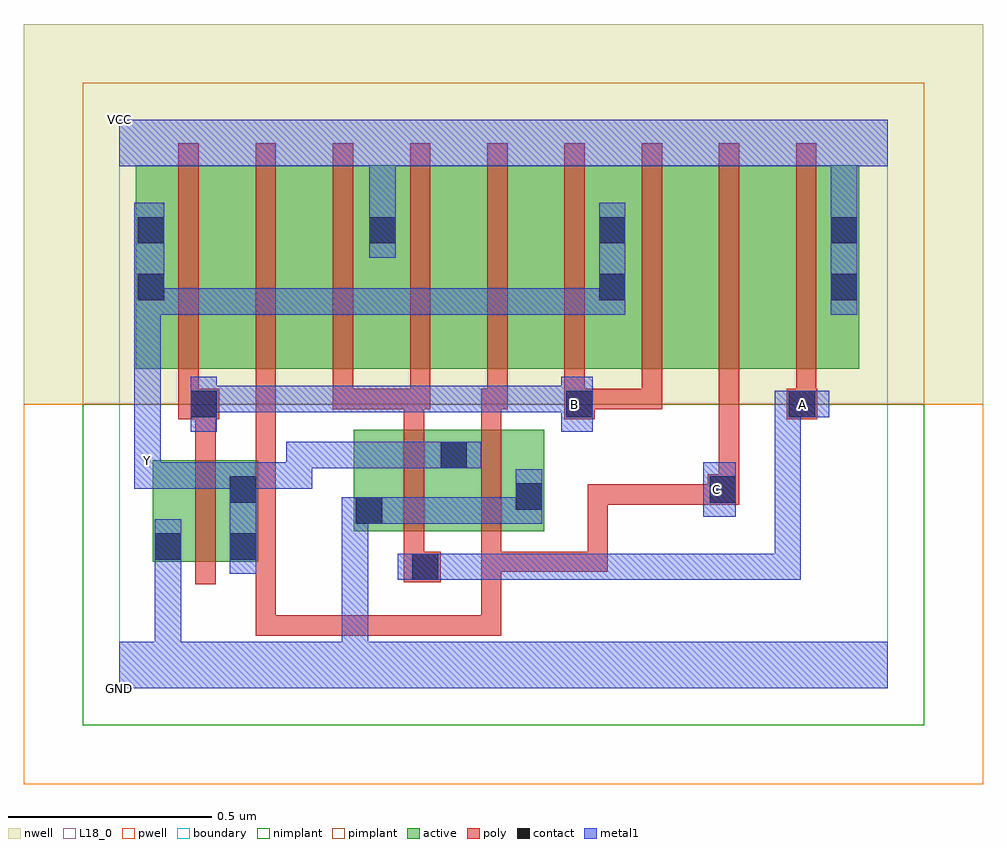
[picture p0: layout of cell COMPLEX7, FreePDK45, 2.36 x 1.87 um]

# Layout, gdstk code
import gdstk
lib = gdstk.Library(unit=1e-6, precision=1e-09)
def R(c, l, rs):  # rectangles x0, y0, x1, y1
    for r in rs: c.add(gdstk.rectangle(r[:2], r[2:], *l))
def A(c, l, x, y, w, h, nx, ny, dx, dy):  # array of equal rectangles
    R(c, l, [(x+i*dx, y+j*dy, x+i*dx+w, y+j*dy+h) for i in range(nx) for j in range(ny)])
active = (1, 0)
pwell = (2, 0)
nwell = (3, 0)
nimplant = (4, 0)
pimplant = (5, 0)
poly = (9, 0)
contact = (10, 0)
metal1 = (11, 0)
L18_0 = (18, 0)
boundary = (235, 0)

complex7 = lib.new_cell('COMPLEX7')
A(complex7, active, 0.265, 0.787, 0.19, 0.5, 3, 1, 0.57, 0)
R(complex7, active, [(0.082,0.312,0.342,0.562), (0.082,0.312,0.157,0.562), (0.267,0.312,0.342,0.562), (0.577,0.387,0.86,0.637), (0.785,0.387,1.045,0.637), (0.577,0.395,0.652,0.637), (0.785,0.395,0.86,0.612), (0.97,0.395,1.045,0.637), (0.04,0.787,0.265,1.287), (0.04,0.787,0.145,1.2), (0.455,0.787,0.685,1.287), (0.61,0.787,0.835,1.287), (1.025,0.787,1.25,1.287), (1.175,0.787,1.405,1.287), (1.595,0.787,1.82,1.287), (1.745,0.787,1.82,1.255), (0.61,0.807,0.685,1.255), (1.175,0.807,1.25,1.2)])
R(complex7, pwell, [(-0.235,-0.235,2.125,0.7)])
R(complex7, nwell, [(-0.235,0.7,2.125,1.635)])
R(complex7, nimplant, [(-0.09,-0.09,1.98,0.7)])
R(complex7, pimplant, [(-0.09,0.7,1.98,1.49)])
A(complex7, poly, 0.525, 0.687, 0.05, 0.095, 5, 1, 0.19, 0)
A(complex7, poly, 0.145, 0.732, 0.05, 0.61, 9, 1, 0.19, 0)
R(complex7, poly, [(0.335,0.13,0.385,0.18), (0.335,0.13,0.385,0.18), (0.335,0.13,0.385,0.18), (0.335,0.13,0.385,0.18), (0.335,0.13,0.385,0.18), (0.335,0.13,0.385,0.18), (0.335,0.13,0.385,0.18), (0.335,0.13,0.385,0.18), (0.335,0.13,0.385,0.18), (0.335,0.13,0.385,0.18), (0.335,0.13,0.385,0.18), (0.335,0.13,0.617,0.18), (0.335,0.13,0.385,0.782), (0.567,0.13,0.617,0.18), (0.567,0.13,0.617,0.18), (0.567,0.13,0.617,0.18), (0.567,0.13,0.807,0.18), (0.757,0.13,0.807,0.18), (0.757,0.13,0.807,0.18), (0.757,0.13,0.807,0.18), (0.757,0.13,0.94,0.18), (0.89,0.13,0.94,0.18), (0.89,0.13,0.94,0.337), (0.187,0.257,0.237,0.617), (0.7,0.262,0.79,0.337), (0.7,0.287,0.75,0.382), (0.89,0.287,0.94,0.382), (0.89,0.287,0.94,0.337), (0.89,0.287,0.94,0.337), (0.89,0.287,0.94,0.337), (0.89,0.287,1.202,0.337), (1.152,0.287,1.202,0.337), (1.152,0.287,1.202,0.502), (0.7,0.332,0.75,0.692), (0.89,0.332,0.94,0.692), (1.152,0.452,1.202,0.502), (1.152,0.452,1.202,0.502), (1.152,0.452,1.202,0.502), (1.152,0.452,1.335,0.502), (1.285,0.452,1.335,0.502), (1.285,0.452,1.497,0.502), (1.447,0.452,1.497,0.502), (1.447,0.452,1.497,0.502), (1.447,0.452,1.497,0.502), (1.447,0.452,1.497,0.502), (1.447,0.452,1.497,0.502), (1.447,0.452,1.497,0.502), (1.447,0.452,1.525,0.527), (1.475,0.477,1.525,0.782), (0.187,0.567,0.237,0.712), (0.7,0.642,0.75,0.737), (0.89,0.642,0.94,0.737), (0.145,0.662,0.245,0.737), (1.095,0.662,1.17,0.737), (1.642,0.662,1.717,0.737), (0.145,0.687,0.195,0.782), (0.525,0.687,0.575,0.737), (0.525,0.687,0.575,0.737), (0.525,0.687,0.575,0.737), (0.525,0.687,0.75,0.737), (0.7,0.687,0.765,0.737), (0.89,0.687,0.955,0.737), (1.12,0.687,1.17,0.737), (1.12,0.687,1.17,0.737), (1.12,0.687,1.335,0.737), (1.285,0.687,1.335,0.737), (1.665,0.687,1.715,0.782)])
R(complex7, contact, [(0.72,0.267,0.785,0.332), (0.087,0.317,0.152,0.382), (0.272,0.317,0.337,0.382), (0.582,0.405,0.647,0.47), (0.975,0.44,1.04,0.505), (0.272,0.457,0.337,0.522), (1.452,0.457,1.517,0.522), (0.79,0.542,0.855,0.607), (0.175,0.667,0.24,0.732), (1.1,0.667,1.165,0.732), (1.647,0.667,1.712,0.732), (0.045,0.955,0.11,1.02), (1.18,0.955,1.245,1.02), (1.75,0.955,1.815,1.02), (0.045,1.095,0.11,1.16), (0.615,1.095,0.68,1.16), (1.18,1.095,1.245,1.16), (1.75,1.095,1.815,1.16)])
R(complex7, metal1, [(0,0,1.89,0.115), (0.087,0.05,0.152,0.347), (0.547,0.05,0.612,0.115), (0.547,0.05,0.612,0.115), (0.547,0.05,0.612,0.47), (0.685,0.267,0.82,0.332), (0.755,0.267,0.82,0.332), (0.755,0.267,0.82,0.332), (0.755,0.267,1.015,0.332), (0.95,0.267,1.015,0.332), (0.95,0.267,1.015,0.332), (0.95,0.267,1.015,0.332), (0.95,0.267,1.177,0.332), (1.112,0.267,1.177,0.332), (1.112,0.267,1.177,0.332), (1.112,0.267,1.177,0.332), (1.112,0.267,1.177,0.332), (1.112,0.267,1.177,0.332), (1.112,0.267,1.177,0.332), (1.112,0.267,1.177,0.332), (1.112,0.267,1.365,0.332), (1.3,0.267,1.365,0.332), (1.3,0.267,1.365,0.332), (1.3,0.267,1.365,0.332), (1.3,0.267,1.502,0.332), (1.437,0.267,1.502,0.332), (1.437,0.267,1.677,0.332), (1.612,0.267,1.677,0.332), (1.612,0.267,1.677,0.732), (0.087,0.282,0.152,0.347), (0.087,0.282,0.152,0.347), (0.087,0.282,0.152,0.347), (0.087,0.282,0.152,0.347), (0.087,0.282,0.152,0.347), (0.087,0.282,0.152,0.347), (0.087,0.282,0.152,0.417), (0.272,0.282,0.337,0.557), (0.547,0.405,0.612,0.47), (0.547,0.405,0.612,0.47), (0.547,0.405,0.612,0.47), (0.547,0.405,0.612,0.47), (0.547,0.405,0.682,0.47), (0.617,0.405,0.85,0.47), (0.785,0.405,0.85,0.47), (0.785,0.405,0.85,0.47), (0.785,0.405,0.85,0.47), (0.785,0.405,0.987,0.47), (0.922,0.405,0.987,0.47), (0.922,0.405,1.04,0.47), (0.975,0.405,1.04,0.54), (1.437,0.422,1.517,0.557), (0.037,0.492,0.102,0.557), (0.037,0.492,0.102,0.557), (0.037,0.492,0.102,0.557), (0.037,0.492,0.102,0.557), (0.037,0.492,0.102,0.627), (0.037,0.492,0.337,0.557), (0.272,0.492,0.475,0.557), (0.41,0.492,0.475,0.607), (0.41,0.542,0.475,0.607), (0.41,0.542,0.475,0.607), (0.41,0.542,0.612,0.607), (0.547,0.542,0.612,0.607), (0.547,0.542,0.612,0.607), (0.547,0.542,0.612,0.607), (0.547,0.542,0.82,0.607), (0.755,0.542,0.82,0.607), (0.755,0.542,0.82,0.607), (0.755,0.542,0.89,0.607), (0.037,0.562,0.102,0.985), (0.175,0.632,0.24,0.767), (1.087,0.632,1.165,0.767), (1.612,0.667,1.677,0.732), (1.612,0.667,1.677,0.732), (1.612,0.667,1.747,0.732), (0.175,0.68,0.29,0.745), (0.225,0.68,0.29,0.745), (0.225,0.68,0.475,0.745), (0.41,0.68,0.475,0.745), (0.41,0.68,0.475,0.745), (0.41,0.68,0.475,0.745), (0.41,0.68,0.612,0.745), (0.547,0.68,0.612,0.745), (0.547,0.68,0.682,0.745), (0.617,0.68,0.682,0.745), (0.617,0.68,0.822,0.745), (0.757,0.68,0.822,0.745), (0.757,0.68,0.822,0.745), (0.757,0.68,0.822,0.745), (0.757,0.68,1.015,0.745), (0.95,0.68,1.015,0.745), (0.95,0.68,1.015,0.745), (0.95,0.68,1.015,0.745), (0.95,0.68,1.152,0.745), (0.037,0.92,0.11,1.195), (0.045,0.92,0.247,0.985), (0.182,0.92,0.247,0.985), (0.182,0.92,0.247,0.985), (0.182,0.92,0.247,0.985), (0.182,0.92,0.385,0.985), (0.32,0.92,0.385,0.985), (0.32,0.92,0.475,0.985), (0.41,0.92,0.475,0.985), (0.41,0.92,0.612,0.985), (0.547,0.92,0.612,0.985), (0.547,0.92,0.612,0.985), (0.547,0.92,0.612,0.985), (0.547,0.92,0.82,0.985), (0.755,0.92,0.82,0.985), (0.755,0.92,0.82,0.985), (0.755,0.92,0.82,0.985), (0.755,0.92,1.015,0.985), (0.95,0.92,1.015,0.985), (0.95,0.92,1.015,0.985), (0.95,0.92,1.015,0.985), (0.95,0.92,1.227,0.985), (1.162,0.92,1.227,0.985), (1.162,0.92,1.245,0.985), (1.18,0.92,1.245,1.195), (1.75,0.92,1.815,1.195), (0.615,1.06,0.68,1.195), (0.615,1.13,0.68,1.35), (1.75,1.13,1.815,1.35), (0,1.285,1.89,1.4)])
R(complex7, L18_0, [(0,0,1.89,0.115), (0.087,0.05,0.152,0.347), (0.547,0.05,0.612,0.115), (0.547,0.05,0.612,0.115), (0.547,0.05,0.612,0.47), (0.685,0.267,0.82,0.332), (0.755,0.267,0.82,0.332), (0.755,0.267,0.82,0.332), (0.755,0.267,1.015,0.332), (0.95,0.267,1.015,0.332), (0.95,0.267,1.015,0.332), (0.95,0.267,1.015,0.332), (0.95,0.267,1.177,0.332), (1.112,0.267,1.177,0.332), (1.112,0.267,1.177,0.332), (1.112,0.267,1.177,0.332), (1.112,0.267,1.177,0.332), (1.112,0.267,1.177,0.332), (1.112,0.267,1.177,0.332), (1.112,0.267,1.177,0.332), (1.112,0.267,1.365,0.332), (1.3,0.267,1.365,0.332), (1.3,0.267,1.365,0.332), (1.3,0.267,1.365,0.332), (1.3,0.267,1.502,0.332), (1.437,0.267,1.502,0.332), (1.437,0.267,1.677,0.332), (1.612,0.267,1.677,0.332), (1.612,0.267,1.677,0.732), (0.087,0.282,0.152,0.347), (0.087,0.282,0.152,0.347), (0.087,0.282,0.152,0.347), (0.087,0.282,0.152,0.347), (0.087,0.282,0.152,0.347), (0.087,0.282,0.152,0.347), (0.087,0.282,0.152,0.417), (0.272,0.282,0.337,0.557), (0.547,0.405,0.612,0.47), (0.547,0.405,0.612,0.47), (0.547,0.405,0.612,0.47), (0.547,0.405,0.612,0.47), (0.547,0.405,0.682,0.47), (0.617,0.405,0.85,0.47), (0.785,0.405,0.85,0.47), (0.785,0.405,0.85,0.47), (0.785,0.405,0.85,0.47), (0.785,0.405,0.987,0.47), (0.922,0.405,0.987,0.47), (0.922,0.405,1.04,0.47), (0.975,0.405,1.04,0.54), (1.437,0.422,1.517,0.557), (1.437,0.457,1.502,0.522), (0.037,0.492,0.102,0.557), (0.037,0.492,0.102,0.557), (0.037,0.492,0.102,0.557), (0.037,0.492,0.102,0.557), (0.037,0.492,0.102,0.627), (0.037,0.492,0.337,0.557), (0.272,0.492,0.475,0.557), (0.41,0.492,0.475,0.607), (0.037,0.527,0.102,0.592), (0.41,0.542,0.475,0.607), (0.41,0.542,0.475,0.607), (0.41,0.542,0.612,0.607), (0.547,0.542,0.612,0.607), (0.547,0.542,0.612,0.607), (0.547,0.542,0.612,0.607), (0.547,0.542,0.82,0.607), (0.755,0.542,0.82,0.607), (0.755,0.542,0.82,0.607), (0.755,0.542,0.89,0.607), (0.037,0.562,0.102,0.985), (0.175,0.632,0.24,0.767), (1.087,0.632,1.165,0.767), (1.087,0.667,1.152,0.732), (1.612,0.667,1.677,0.732), (1.612,0.667,1.677,0.732), (1.612,0.667,1.747,0.732), (1.647,0.667,1.712,0.732), (0.175,0.68,0.29,0.745), (0.225,0.68,0.29,0.745), (0.225,0.68,0.475,0.745), (0.41,0.68,0.475,0.745), (0.41,0.68,0.475,0.745), (0.41,0.68,0.475,0.745), (0.41,0.68,0.612,0.745), (0.547,0.68,0.612,0.745), (0.547,0.68,0.682,0.745), (0.617,0.68,0.682,0.745), (0.617,0.68,0.822,0.745), (0.757,0.68,0.822,0.745), (0.757,0.68,0.822,0.745), (0.757,0.68,0.822,0.745), (0.757,0.68,1.015,0.745), (0.95,0.68,1.015,0.745), (0.95,0.68,1.015,0.745), (0.95,0.68,1.015,0.745), (0.95,0.68,1.152,0.745), (0.037,0.92,0.11,1.195), (0.045,0.92,0.247,0.985), (0.182,0.92,0.247,0.985), (0.182,0.92,0.247,0.985), (0.182,0.92,0.247,0.985), (0.182,0.92,0.385,0.985), (0.32,0.92,0.385,0.985), (0.32,0.92,0.475,0.985), (0.41,0.92,0.475,0.985), (0.41,0.92,0.612,0.985), (0.547,0.92,0.612,0.985), (0.547,0.92,0.612,0.985), (0.547,0.92,0.612,0.985), (0.547,0.92,0.82,0.985), (0.755,0.92,0.82,0.985), (0.755,0.92,0.82,0.985), (0.755,0.92,0.82,0.985), (0.755,0.92,1.015,0.985), (0.95,0.92,1.015,0.985), (0.95,0.92,1.015,0.985), (0.95,0.92,1.015,0.985), (0.95,0.92,1.227,0.985), (1.162,0.92,1.227,0.985), (1.162,0.92,1.245,0.985), (1.18,0.92,1.245,1.195), (1.75,0.92,1.815,1.195), (0.615,1.06,0.68,1.195), (0.615,1.13,0.68,1.35), (1.75,1.13,1.815,1.35), (0,1.285,1.89,1.4)])
R(complex7, boundary, [(0,0,1.89,1.4)])
complex7.add(gdstk.Label('A', (1.68,0.7), layer=11, texttype=0))
complex7.add(gdstk.Label('B', (1.12,0.7), layer=11, texttype=0))
complex7.add(gdstk.Label('C', (1.47,0.49), layer=11, texttype=0))
complex7.add(gdstk.Label('Y', (0.07,0.56), layer=11, texttype=0))
complex7.add(gdstk.Label('VCC', (0,1.4), layer=11, texttype=0))
complex7.add(gdstk.Label('GND', (0,0), layer=11, texttype=0))

lib.write_gds('COMPLEX7.gds')
